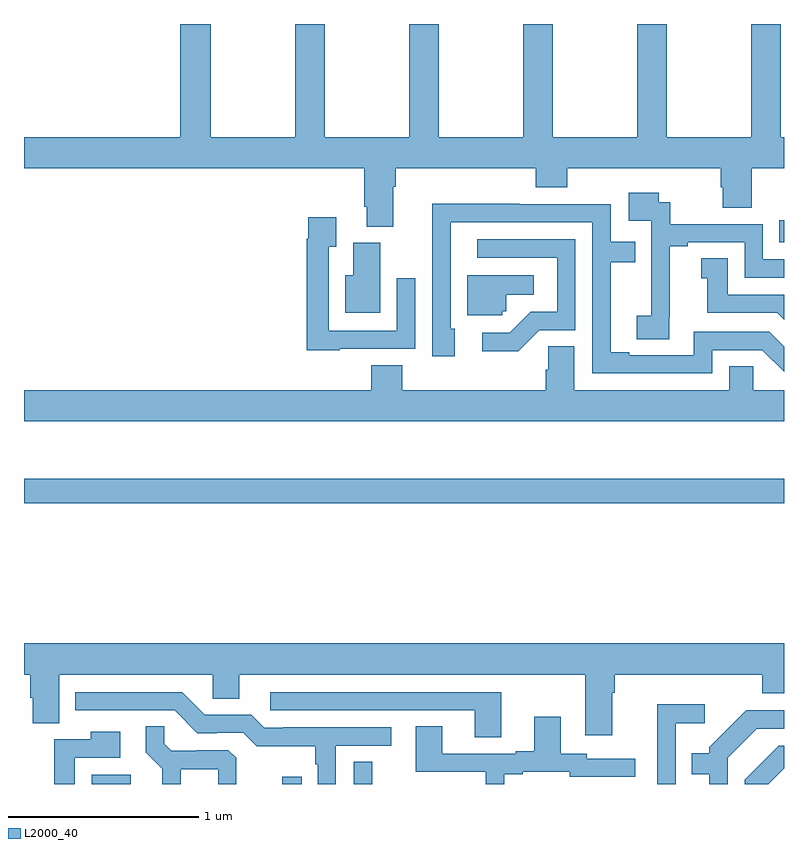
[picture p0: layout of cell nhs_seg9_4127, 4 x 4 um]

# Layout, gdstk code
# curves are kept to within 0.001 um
import gdstk
lib = gdstk.Library(unit=1e-6, precision=1e-09)
def R(c, l, rs):  # rectangles x0, y0, x1, y1
    for r in rs: c.add(gdstk.rectangle(r[:2], r[2:], *l))
def P(c, l, *ps):  # polygons
    for p in ps: c.add(gdstk.Polygon(p, *l))
L2000_40 = (2000, 40)

nhs_seg9_4127 = lib.new_cell('nhs_seg9_4127')
R(nhs_seg9_4127, L2000_40, [(347.357,1206.5,347.563,1206.55), (348.36,1206.5,348.461,1206.538), (348.735,1206.5,348.834,1206.617), (347,1207.978,351,1208.107), (350.974,1209.351,351,1209.466)])
P(nhs_seg9_4127, L2000_40, [(348.943,1209.644),(348.956,1209.644),(348.956,1209.74),(349.694,1209.74),(349.694,1209.641),(349.859,1209.641),(349.859,1209.74),(350.666,1209.74),(350.666,1209.642),(350.678,1209.642),(350.678,1209.532),(350.831,1209.532),(350.831,1209.74),(351,1209.74),(351,1209.904),(350.982,1209.904),(350.982,1210.5),(350.827,1210.5),(350.827,1209.904),(350.382,1209.904),(350.382,1210.5),(350.227,1210.5),(350.227,1209.904),(349.782,1209.904),(349.782,1210.5),(349.627,1210.5),(349.627,1209.904),(349.182,1209.904),(349.182,1210.5),(349.027,1210.5),(349.027,1209.904),(348.582,1209.904),(348.582,1210.5),(348.427,1210.5),(348.427,1209.904),(347.982,1209.904),(347.982,1210.5),(347.822,1210.5),(347.822,1209.904),(347,1209.904),(347,1209.74),(348.791,1209.74),(348.791,1209.538),(348.803,1209.538),(348.803,1209.433),(348.943,1209.433)],
  [(350.396,1208.953),(350.398,1208.953),(350.398,1209.331),(350.494,1209.331),(350.494,1209.351),(350.793,1209.351),(350.793,1209.165),(351,1209.165),(351,1209.261),(350.889,1209.261),(350.889,1209.447),(350.402,1209.447),(350.402,1209.561),(350.34,1209.561),(350.34,1209.613),(350.184,1209.613),(350.184,1209.465),(350.301,1209.465),(350.301,1209.161),(350.3,1209.161),(350.3,1208.964),(350.226,1208.964),(350.226,1208.842),(350.396,1208.842)],
  [(350.622,1208.784),(350.886,1208.784),(351,1208.67),(351,1208.802),(350.922,1208.88),(350.526,1208.88),(350.526,1208.757),(350.185,1208.757),(350.185,1208.772),(350.089,1208.772),(350.089,1209.246),(350.216,1209.246),(350.216,1209.354),(350.088,1209.354),(350.088,1209.552),(349.61,1209.552),(349.61,1209.554),(349.148,1209.554),(349.149,1208.751),(349.267,1208.751),(349.267,1208.895),(349.245,1208.895),(349.245,1209.456),(349.992,1209.456),(349.992,1208.661),(350.622,1208.661)],
  [(348.663,1208.79),(349.059,1208.79),(349.059,1209.163),(348.963,1209.163),(348.963,1208.886),(348.603,1208.886),(348.603,1209.328),(348.643,1209.328),(348.643,1209.484),(348.495,1209.484),(348.495,1209.371),(348.487,1209.371),(348.487,1208.783),(348.663,1208.783)],
  [(349.713,1208.889),(349.902,1208.889),(349.902,1209.366),(349.386,1209.366),(349.386,1209.27),(349.806,1209.27),(349.806,1208.985),(349.668,1208.985),(349.557,1208.874),(349.413,1208.874),(349.413,1208.777),(349.6,1208.777)],
  [(348.874,1209.348),(348.734,1209.348),(348.734,1209.178),(348.692,1209.178),(348.692,1208.981),(348.874,1208.981)],
  [(351,1209.075),(350.704,1209.075),(350.704,1209.266),(350.564,1209.266),(350.564,1209.163),(350.597,1209.163),(350.597,1208.979),(350.964,1208.979),(351,1208.943)],
  [(349.518,1208.988),(349.539,1208.988),(349.539,1209.074),(349.684,1209.074),(349.684,1209.178),(349.334,1209.178),(349.334,1208.967),(349.518,1208.967)],
  [(351,1208.572),(350.838,1208.572),(350.838,1208.699),(350.711,1208.699),(350.711,1208.572),(349.897,1208.572),(349.897,1208.804),(349.758,1208.804),(349.758,1208.681),(349.745,1208.681),(349.745,1208.572),(348.992,1208.572),(348.992,1208.705),(348.827,1208.705),(348.827,1208.572),(347,1208.572),(347,1208.408),(351,1208.408)],
  [(350.095,1206.98),(350.108,1206.98),(350.108,1207.076),(350.885,1207.076),(350.885,1206.977),(351,1206.977),(351,1207.24),(347,1207.24),(347,1207.076),(347.033,1207.076),(347.033,1206.954),(347.045,1206.954),(347.045,1206.82),(347.185,1206.82),(347.185,1207.076),(347.994,1207.076),(347.994,1206.949),(348.133,1206.949),(348.133,1207.076),(349.955,1207.076),(349.955,1206.756),(350.095,1206.756)],
  [(348.642,1206.702),(348.934,1206.702),(348.934,1206.798),(348.364,1206.798),(348.364,1206.795),(348.264,1206.795),(348.195,1206.864),(347.952,1206.864),(347.832,1206.984),(347.27,1206.984),(347.27,1206.888),(347.793,1206.888),(347.913,1206.768),(348.014,1206.768),(348.014,1206.771),(348.153,1206.771),(348.226,1206.698),(348.534,1206.698),(348.534,1206.605),(348.546,1206.605),(348.546,1206.5),(348.642,1206.5)],
  [(349.513,1206.984),(348.297,1206.984),(348.297,1206.888),(349.373,1206.888),(349.373,1206.745),(349.513,1206.745)],
  [(350.43,1206.821),(350.584,1206.821),(350.584,1206.919),(350.332,1206.919),(350.332,1206.68),(350.334,1206.68),(350.334,1206.5),(350.43,1206.5)],
  [(350.703,1206.639),(350.856,1206.792),(351,1206.792),(351,1206.888),(350.802,1206.888),(350.607,1206.693),(350.607,1206.661),(350.515,1206.661),(350.515,1206.552),(350.606,1206.552),(350.606,1206.5),(350.703,1206.5)],
  [(349.528,1206.552),(349.624,1206.552),(349.624,1206.564),(349.872,1206.564),(349.872,1206.537),(350.218,1206.537),(350.218,1206.633),(349.962,1206.633),(349.962,1206.66),(349.825,1206.66),(349.825,1206.853),(349.685,1206.853),(349.685,1206.673),(349.589,1206.673),(349.589,1206.66),(349.201,1206.66),(349.201,1206.803),(349.061,1206.803),(349.061,1206.564),(349.431,1206.564),(349.431,1206.5),(349.528,1206.5)],
  [(347.825,1206.578),(348.022,1206.578),(348.022,1206.5),(348.116,1206.5),(348.116,1206.637),(348.075,1206.678),(347.91,1206.678),(347.91,1206.675),(347.776,1206.675),(347.739,1206.712),(347.739,1206.803),(347.641,1206.803),(347.641,1206.667),(347.727,1206.581),(347.727,1206.5),(347.825,1206.5)],
  [(347.268,1206.639),(347.506,1206.639),(347.506,1206.775),(347.35,1206.775),(347.35,1206.735),(347.16,1206.735),(347.16,1206.5),(347.268,1206.5)],
  [(351,1206.582),(351,1206.702),(350.972,1206.702),(350.793,1206.523),(350.793,1206.5),(350.918,1206.5)])

lib.write_gds('nhs_seg9_4127.gds')
